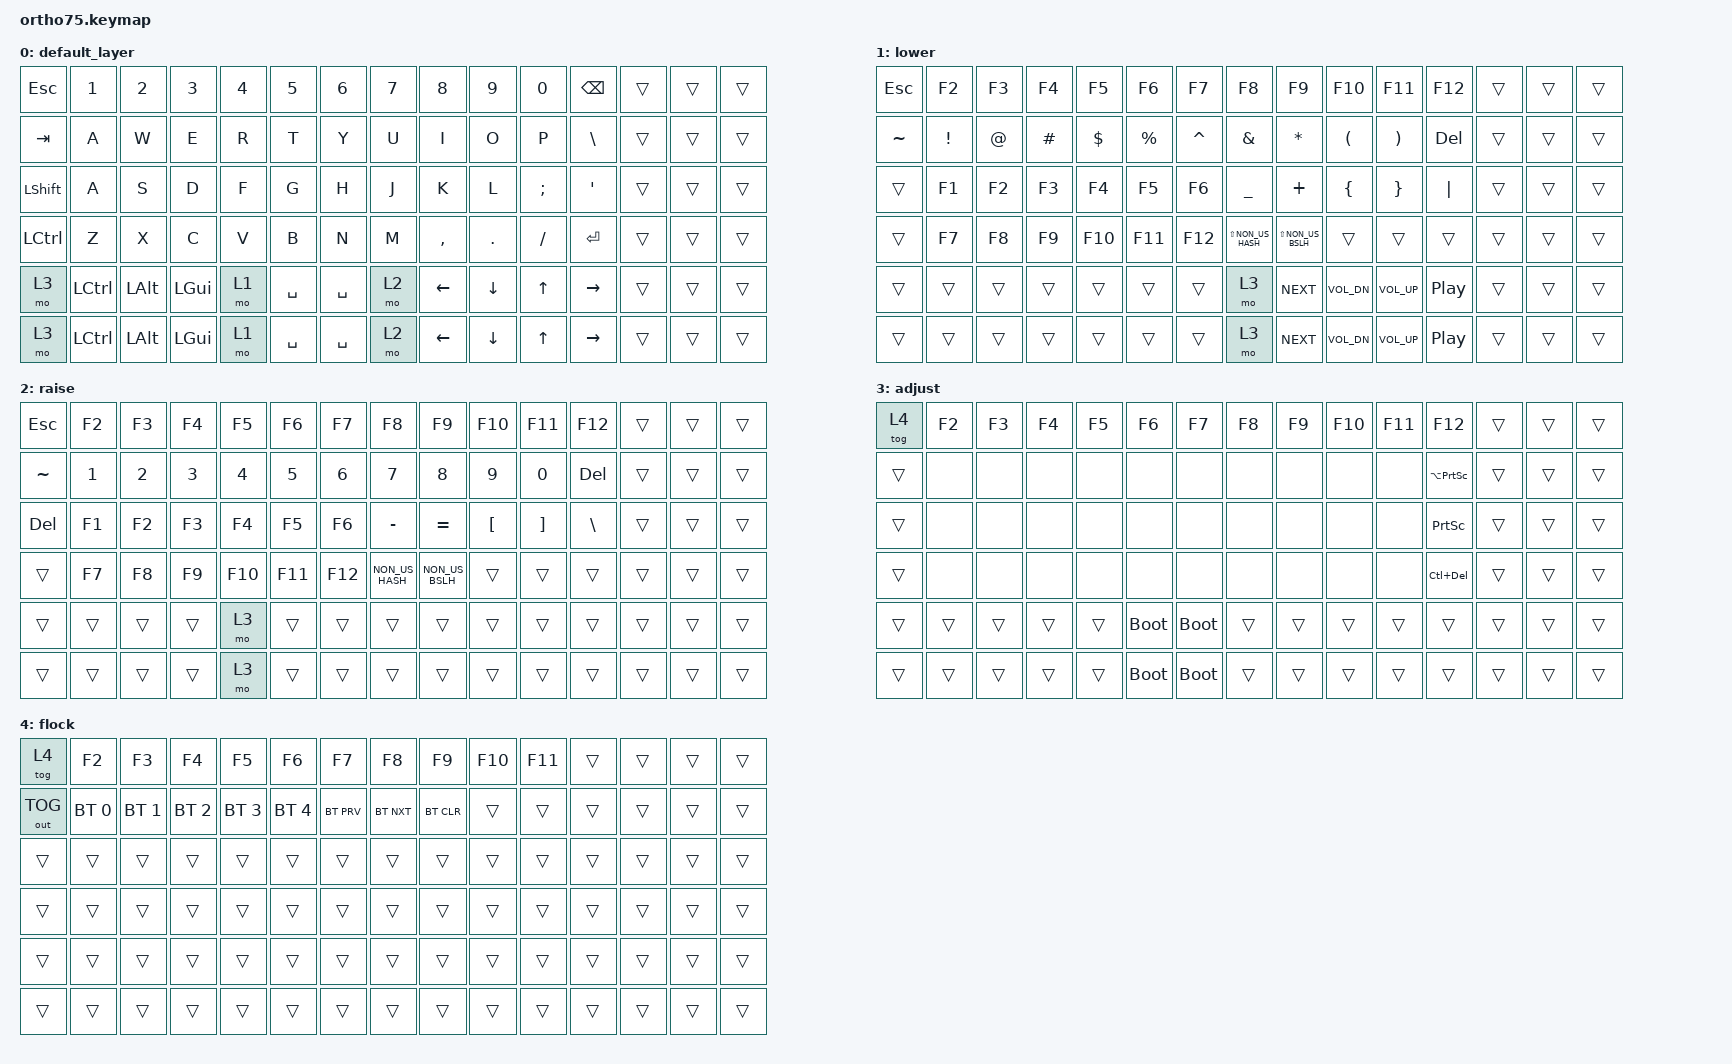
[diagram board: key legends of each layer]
/*
 * Copyright (c) 2020 The ZMK Contributors
 *
 * SPDX-License-Identifier: MIT
 */

#include <behaviors.dtsi>
#include <dt-bindings/zmk/bt.h>
#include <dt-bindings/zmk/keys.h>
#include <dt-bindings/zmk/outputs.h>

/ {
    keymap {
        compatible = "zmk,keymap";

        default_layer {
            // ----------------------------------------------------------------------------------------------------------
            // |  ESC  |  1   |  2   |  3   |  4   |  5   |-------|-------|   6   |  7    |  8   |  9   |   0   | BSPC  |
            // |  TAB  |  Q   |  W   |  E   |  R   |  T   |-------|-------|   Y   |  U    |  I   |  O   |   P   |  \    |
            // | SHIFT |  A   |  S   |  D   |  F   |  G   |-------|-------|   H   |  J    |  K   |  L   |   ;   |  '    |
            // | CTRL  |  Z   |  X   |  C   |  V   |  B   |-------|-------|   N   |  M    |  ,   |  .   |   /   | ENTER |
            // |-------|ADJUST| LCTL | LALT | LGUI | LOWR | SPACE | SPACE |  RAIS | LEFT | DOWN | UARW  | RARW  |-------|

            bindings = <
&kp ESC    &kp N1     &kp N2    &kp N3    &kp N4  &kp N5     &kp N6     &kp N7  &kp N8     &kp N9    &kp N0    &kp BSPC &trans &trans &trans
&kp TAB    &kp A      &kp W     &kp E     &kp R   &kp T      &kp Y      &kp U   &kp I      &kp O     &kp P     &kp BSLH &trans &trans &trans
&kp LSHFT  &kp A      &kp S     &kp D     &kp F   &kp G      &kp H      &kp J   &kp K      &kp L     &kp SEMI  &kp SQT &trans &trans &trans
&kp LCTRL  &kp Z      &kp X     &kp C     &kp V   &kp B      &kp N      &kp M   &kp COMMA  &kp DOT   &kp FSLH  &kp RET &trans &trans &trans
&mo 3      &kp LCTRL  &kp LALT  &kp LGUI  &mo 1   &kp SPACE  &kp SPACE  &mo 2   &kp LEFT   &kp DOWN  &kp UP    &kp RIGHT &trans &trans &trans
&mo 3      &kp LCTRL  &kp LALT  &kp LGUI  &mo 1   &kp SPACE  &kp SPACE  &mo 2   &kp LEFT   &kp DOWN  &kp UP    &kp RIGHT &trans &trans &trans
            >;
        };

        lower {
            // ----------------------------------------------------------------------------------------------------------
            // |  ESC  |  F2  |  F3  |  F4  |  F5  |  F6  |-------|-------|   F7  |  F8   |  F9  | F10  |  F11  |  F12  |
            // |   ~   |  !   |  @   |  #   |  $   |  %   |-------|-------|   ^   |   &   |  *   |  (   |   )   |  DEL  |
            // |       |  F1  |  F2  |  F3  |  F4  |  F5  |-------|-------|   F6  |   _   |  +   |  {   |   }   |   |   |
            // |       |  F7  |  F8  |  F9  |  F10 |  F11 |-------|-------|   F12 | LS(#) |LS(|) |      |       |       |
            // |-------|      |      |      |      |      |       |       |       | NEXT  | Vol- | Vol+ | PLAY  |-------|

            bindings = <
&kp ESC    &kp F2    &kp F3  &kp F4    &kp F5    &kp F6     &kp F7     &kp F8               &kp F9               &kp F10       &kp F11       &kp F12 &trans &trans &trans
&kp TILDE  &kp EXCL  &kp AT  &kp HASH  &kp DLLR  &kp PRCNT  &kp CARET  &kp AMPS             &kp ASTRK            &kp LPAR      &kp RPAR      &kp DEL &trans &trans &trans
&trans     &kp F1    &kp F2  &kp F3    &kp F4    &kp F5     &kp F6     &kp UNDER            &kp PLUS             &kp LBRC      &kp RBRC      &kp PIPE &trans &trans &trans
&trans     &kp F7    &kp F8  &kp F9    &kp F10   &kp F11    &kp F12    &kp LS(NON_US_HASH)  &kp LS(NON_US_BSLH)  &trans        &trans        &trans &trans &trans &trans
&trans     &trans    &trans  &trans    &trans    &trans     &trans     &mo 3                &kp C_NEXT           &kp C_VOL_DN  &kp C_VOL_UP  &kp C_PLAY_PAUSE &trans &trans &trans
&trans     &trans    &trans  &trans    &trans    &trans     &trans     &mo 3                &kp C_NEXT           &kp C_VOL_DN  &kp C_VOL_UP  &kp C_PLAY_PAUSE &trans &trans &trans
            >;
        };

        raise {
            // ----------------------------------------------------------------------------------------------------------
            // |  ESC  |  F2  |  F3  |  F4  |  F5  |  F6  |-------|-------|  F7   |  F8   |  F9  | F10  |  F11  |  F12  |
            // |   ~   |  1   |  2   |  3   |  4   |  5   |-------|-------|  6    |   7   |  8   |  9   |   0   |  DEL  |
            // |  DEL  |  F1  |  F2  |  F3  |  F4  |  F5  |-------|-------|  F6   |   -   |  =   |  [   |   ]   |   \   |
            // |       |  F7  |  F8  |  F9  |  F10 |  F11 |-------|-------|  F12  |   #   |  |   |      |       |       |
            // |-------|      |      |      |      |      |       |       |       |       |      |      |       |-------|

            bindings = <
&kp ESC    &kp F2  &kp F3  &kp F4  &kp F5   &kp F6   &kp F7   &kp F8           &kp F9           &kp F10   &kp F11   &kp F12 &trans &trans &trans
&kp TILDE  &kp N1  &kp N2  &kp N3  &kp N4   &kp N5   &kp N6   &kp N7           &kp N8           &kp N9    &kp N0    &kp DEL &trans &trans &trans
&kp DEL    &kp F1  &kp F2  &kp F3  &kp F4   &kp F5   &kp F6   &kp MINUS        &kp EQUAL        &kp LBKT  &kp RBKT  &kp BSLH &trans &trans &trans
&trans     &kp F7  &kp F8  &kp F9  &kp F10  &kp F11  &kp F12  &kp NON_US_HASH  &kp NON_US_BSLH  &trans    &trans    &trans &trans &trans &trans
&trans     &trans  &trans  &trans  &mo 3    &trans   &trans   &trans           &trans           &trans    &trans    &trans &trans &trans &trans
&trans     &trans  &trans  &trans  &mo 3    &trans   &trans   &trans           &trans           &trans    &trans    &trans &trans &trans &trans
            >;
        };

        adjust {
            // ----------------------------------------------------------------------------------------------------------
            // |tog(4)|  F2  |  F3  |  F4  |  F5  |  F6  |------|------|  F7  |  F8  |  F9  |  F10 |  F11 |    F12    |
            // |      |  NA  |  NA  |  NA  |  NA  |  NA  |------|------|  NA  |  NA  |  NA  |  NA  |  NA  |LALT(PRTSN)|
            // |      |  NA  |  NA  |  NA  |  NA  |  NA  |------|------|  NA  |  NA  |  NA  |  NA  |  NA  |   PRTSN   |
            // |      |  NA  |  NA  |  NA  |  NA  |  NA  |------|------|  NA  |  NA  |  NA  |  NA  |  NA  |LCTRL(DEL) |
            // |------|      |      |      |      |      |BOOTLD|BOOTLD|      |      |      |      |      |-----------|

            bindings = <
&tog 4  &kp F2  &kp F3  &kp F4  &kp F5  &kp F6       &kp F7       &kp F8  &kp F9  &kp F10  &kp F11  &kp F12 &trans &trans &trans
&trans  &none   &none   &none   &none   &none        &none        &none   &none   &none    &none    &kp LA(PSCRN) &trans &trans &trans
&trans  &none   &none   &none   &none   &none        &none        &none   &none   &none    &none    &kp PSCRN &trans &trans &trans
&trans  &none   &none   &none   &none   &none        &none        &none   &none   &none    &none    &kp LC(DEL) &trans &trans &trans
&trans  &trans  &trans  &trans  &trans  &bootloader  &bootloader  &trans  &trans  &trans   &trans   &trans &trans &trans &trans
&trans  &trans  &trans  &trans  &trans  &bootloader  &bootloader  &trans  &trans  &trans   &trans   &trans &trans &trans &trans
            >;
        };

        flock {
            // ----------------------------------------------------------------------------------------------------------
            // |tog(4) |  F2    |   F3   |   F4   |   F5   |   F6   |-------|-------|  F7  |  F8  |  F9  | F10 | F11 |      |
            // |out tog|BT_SEL 0|BT_SEL 1|BT_SEL 2|BT_SEL 3|BT_SEL 4|-------|-------|BT_PRV|BT_NXT|BT_CLR|     |     |      |
            // |       |        |        |        |        |        |-------|-------|      |      |      |     |     |      |
            // |       |        |        |        |        |        |-------|-------|      |      |      |     |     |      |
            // |-------|        |        |        |        |        |       |       |      |      |      |     |     |------|

            bindings = <
&tog 4        &kp F2        &kp F3        &kp F4        &kp F5        &kp F6        &kp F7      &kp F8      &kp F9      &kp F10  &kp F11  &trans &trans &trans &trans
&out OUT_TOG  &bt BT_SEL 0  &bt BT_SEL 1  &bt BT_SEL 2  &bt BT_SEL 3  &bt BT_SEL 4  &bt BT_PRV  &bt BT_NXT  &bt BT_CLR  &trans   &trans   &trans &trans &trans &trans
&trans        &trans        &trans        &trans        &trans        &trans        &trans      &trans      &trans      &trans   &trans   &trans &trans &trans &trans
&trans        &trans        &trans        &trans        &trans        &trans        &trans      &trans      &trans      &trans   &trans   &trans &trans &trans &trans
&trans        &trans        &trans        &trans        &trans        &trans        &trans      &trans      &trans      &trans   &trans   &trans &trans &trans &trans
&trans        &trans        &trans        &trans        &trans        &trans        &trans      &trans      &trans      &trans   &trans   &trans &trans &trans &trans
            >;
        };
    };
};
